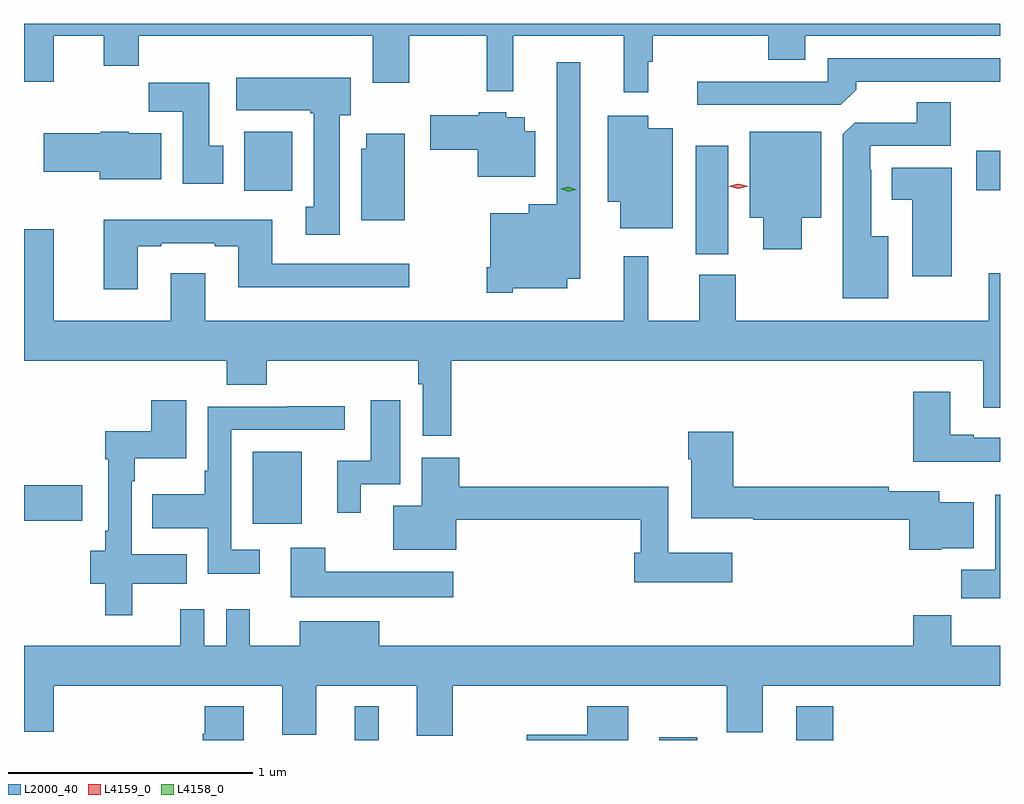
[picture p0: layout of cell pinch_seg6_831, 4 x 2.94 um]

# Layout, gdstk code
import gdstk
lib = gdstk.Library(unit=1e-6, precision=1e-09)
def R(c, l, rs):  # rectangles x0, y0, x1, y1
    for r in rs: c.add(gdstk.rectangle(r[:2], r[2:], *l))
def P(c, l, *ps):  # polygons
    for p in ps: c.add(gdstk.Polygon(p, *l))
L2000_40 = (2000, 40)
L4158_0 = (4158, 0)
L4159_0 = (4159, 0)

pinch_seg6_831 = lib.new_cell('pinch_seg6_831')
R(pinch_seg6_831, L2000_40, [(142.43,995.065,142.528,995.203), (143.679,995.065,143.835,995.077), (144.239,995.065,144.392,995.203), (142.013,995.951,142.213,996.247), (141.075,995.963,141.313,996.11), (143.828,997.057,143.962,997.501), (141.977,997.316,142.174,997.558), (144.978,997.318,145.075,997.48)])
P(pinch_seg6_831, L2000_40, [(143.633,997.844),(143.651,997.844),(143.651,997.952),(144.125,997.952),(144.125,997.853),(144.277,997.853),(144.277,997.952),(145.075,997.952),(145.075,998),(141.075,998),(141.075,997.764),(141.196,997.764),(141.196,997.952),(141.401,997.952),(141.401,997.828),(141.545,997.828),(141.545,997.952),(142.505,997.952),(142.505,997.758),(142.653,997.758),(142.653,997.952),(142.971,997.952),(142.971,997.724),(143.081,997.724),(143.081,997.952),(143.534,997.952),(143.534,997.719),(143.633,997.719)],
  [(144.485,997.73),(144.485,997.764),(145.075,997.764),(145.075,997.86),(144.369,997.86),(144.369,997.764),(143.835,997.764),(143.835,997.668),(144.423,997.668)],
  [(143.079,996.917),(143.302,996.917),(143.302,996.956),(143.355,996.956),(143.355,997.843),(143.259,997.843),(143.259,997.261),(143.144,997.261),(143.144,997.225),(142.985,997.225),(142.985,997.003),(142.971,997.003),(142.971,996.899),(143.079,996.899)],
  [(142.369,997.626),(142.414,997.626),(142.414,997.78),(141.945,997.78),(141.945,997.646),(142.249,997.646),(142.249,997.633),(142.262,997.633),(142.262,997.25),(142.229,997.25),(142.229,997.137),(142.369,997.137)],
  [(141.892,997.5),(141.835,997.5),(141.835,997.759),(141.586,997.759),(141.586,997.64),(141.725,997.64),(141.725,997.344),(141.892,997.344)],
  [(144.616,997.129),(144.547,997.129),(144.547,997.403),(144.543,997.403),(144.543,997.5),(144.874,997.5),(144.874,997.679),(144.734,997.679),(144.734,997.596),(144.48,997.596),(144.431,997.547),(144.431,996.875),(144.616,996.875)],
  [(143.17,997.561),(143.128,997.561),(143.128,997.618),(143.052,997.618),(143.052,997.639),(142.938,997.639),(142.938,997.626),(142.74,997.626),(142.74,997.484),(142.934,997.484),(142.934,997.373),(143.17,997.373)],
  [(143.734,997.573),(143.634,997.573),(143.634,997.624),(143.468,997.624),(143.468,997.271),(143.519,997.271),(143.519,997.163),(143.734,997.163)],
  [(141.637,997.552),(141.504,997.552),(141.504,997.558),(141.39,997.558),(141.39,997.552),(141.156,997.552),(141.156,997.394),(141.386,997.394),(141.386,997.364),(141.637,997.364)],
  [(144.262,997.205),(144.343,997.205),(144.343,997.558),(144.05,997.558),(144.05,997.205),(144.104,997.205),(144.104,997.077),(144.262,997.077)],
  [(142.636,997.549),(142.478,997.549),(142.478,997.488),(142.457,997.488),(142.457,997.196),(142.636,997.196)],
  [(144.877,997.411),(144.632,997.411),(144.632,997.28),(144.716,997.28),(144.716,996.966),(144.877,996.966)],
  [(141.541,997.089),(141.637,997.089),(141.637,997.101),(141.857,997.101),(141.857,997.089),(141.953,997.089),(141.953,996.92),(142.654,996.92),(142.654,997.017),(142.093,997.017),(142.093,997.198),(141.401,997.198),(141.401,996.912),(141.541,996.912)],
  [(142.826,996.62),(145.007,996.62),(145.007,996.426),(145.075,996.426),(145.075,996.979),(145.028,996.979),(145.028,996.784),(143.991,996.784),(143.991,996.972),(143.843,996.972),(143.843,996.784),(143.633,996.784),(143.633,997.048),(143.533,997.048),(143.533,996.784),(141.817,996.784),(141.817,996.979),(141.677,996.979),(141.677,996.784),(141.196,996.784),(141.196,997.159),(141.075,997.159),(141.075,996.62),(141.905,996.62),(141.905,996.521),(142.07,996.521),(142.07,996.62),(142.69,996.62),(142.69,996.524),(142.71,996.524),(142.71,996.312),(142.826,996.312)],
  [(145.075,996.303),(144.967,996.303),(144.967,996.316),(144.871,996.316),(144.871,996.493),(144.719,996.493),(144.719,996.206),(145.075,996.206)],
  [(141.518,995.705),(141.743,995.705),(141.743,995.827),(141.516,995.827),(141.516,996.125),(141.529,996.125),(141.529,996.221),(141.739,996.221),(141.739,996.457),(141.596,996.457),(141.596,996.331),(141.408,996.331),(141.408,996.215),(141.42,996.215),(141.42,995.923),(141.408,995.923),(141.408,995.84),(141.347,995.84),(141.347,995.705),(141.408,995.705),(141.408,995.577),(141.518,995.577)],
  [(142.456,996.114),(142.618,996.114),(142.618,996.457),(142.496,996.457),(142.496,996.21),(142.358,996.21),(142.358,995.997),(142.456,995.997)],
  [(142.042,995.844),(141.924,995.844),(141.924,996.336),(142.39,996.336),(142.39,996.434),(142.153,996.434),(142.153,996.432),(141.828,996.432),(141.828,996.169),(141.816,996.169),(141.816,996.073),(141.601,996.073),(141.601,995.933),(141.828,995.933),(141.828,995.747),(142.042,995.747)],
  [(144.834,995.852),(144.967,995.852),(144.967,996.04),(144.826,996.04),(144.826,996.084),(144.62,996.084),(144.62,996.104),(143.981,996.104),(143.981,996.328),(143.798,996.328),(143.798,996.215),(143.81,996.215),(143.81,995.975),(144.064,995.975),(144.064,995.968),(144.704,995.968),(144.704,995.846),(144.834,995.846)],
  [(143.977,995.833),(143.715,995.833),(143.715,996.104),(142.859,996.104),(142.859,996.223),(142.706,996.223),(142.706,996.025),(142.589,996.025),(142.589,995.846),(142.846,995.846),(142.846,995.968),(143.603,995.968),(143.603,995.833),(143.576,995.833),(143.576,995.711),(143.977,995.711)],
  [(145.075,996.07),(145.055,996.07),(145.055,995.764),(144.916,995.764),(144.916,995.646),(145.075,995.646)],
  [(142.834,995.755),(142.309,995.755),(142.309,995.854),(142.169,995.854),(142.169,995.651),(142.834,995.651)],
  [(142.833,995.288),(143.956,995.288),(143.956,995.098),(144.103,995.098),(144.103,995.288),(145.075,995.288),(145.075,995.452),(144.875,995.452),(144.875,995.576),(144.719,995.576),(144.719,995.452),(142.531,995.452),(142.531,995.551),(142.205,995.551),(142.205,995.452),(142.001,995.452),(142.001,995.602),(141.903,995.602),(141.903,995.452),(141.813,995.452),(141.813,995.602),(141.716,995.602),(141.716,995.452),(141.075,995.452),(141.075,995.1),(141.196,995.1),(141.196,995.288),(142.133,995.288),(142.133,995.086),(142.273,995.086),(142.273,995.288),(142.685,995.288),(142.685,995.082),(142.833,995.082)],
  [(141.976,995.203),(141.815,995.203),(141.815,995.09),(141.808,995.09),(141.808,995.065),(141.976,995.065)],
  [(143.551,995.203),(143.384,995.203),(143.384,995.086),(143.136,995.086),(143.136,995.065),(143.551,995.065)])
P(pinch_seg6_831, L4158_0, [(143.306,997.313),(143.272,997.325),(143.272,997.325),(143.272,997.325),(143.307,997.333),(143.341,997.321),(143.341,997.321),(143.341,997.321)])
P(pinch_seg6_831, L4159_0, [(144.003,997.324),(143.964,997.334),(143.964,997.334),(143.964,997.335),(144.003,997.344),(144.043,997.335),(144.043,997.334),(144.043,997.334)])

lib.write_gds('pinch_seg6_831.gds')
